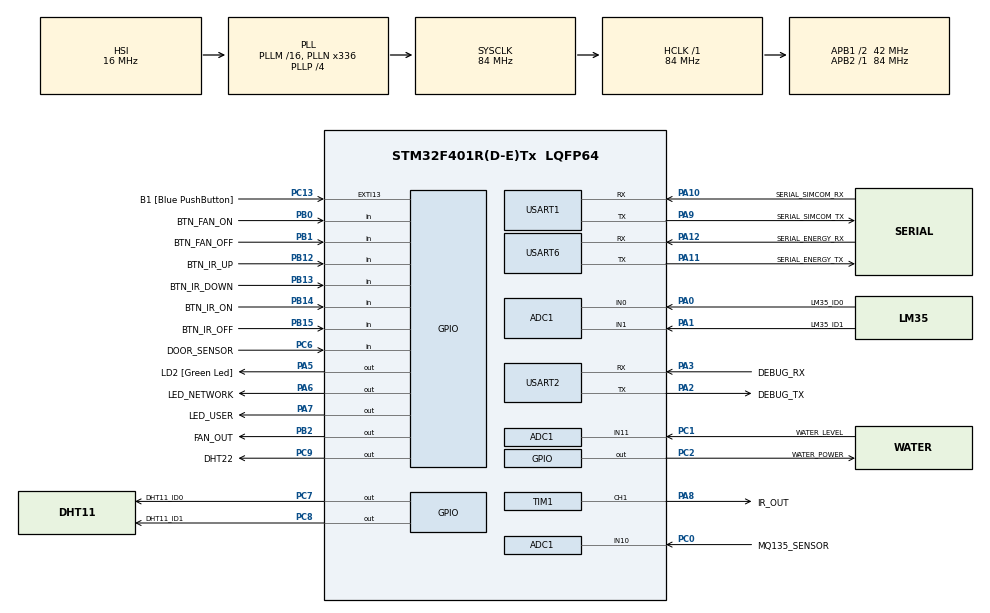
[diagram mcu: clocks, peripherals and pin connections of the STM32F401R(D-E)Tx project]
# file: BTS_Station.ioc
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ADC1.Channel-15\#ChannelRegularConversion=ADC_CHANNEL_1
ADC1.Channel-16\#ChannelRegularConversion=ADC_CHANNEL_10
ADC1.Channel-17\#ChannelRegularConversion=ADC_CHANNEL_11
ADC1.ContinuousConvMode=ENABLE
ADC1.DMAContinuousRequests=ENABLE
ADC1.InjNumberOfConversion=0
ADC1.NbrOfConversion=4
ADC1.NbrOfConversionFlag=1
ADC1.Rank-15\#ChannelRegularConversion=2
ADC1.Rank-16\#ChannelRegularConversion=3
ADC1.Rank-17\#ChannelRegularConversion=4
ADC1.SamplingTime-15\#ChannelRegularConversion=ADC_SAMPLETIME_84CYCLES
ADC1.SamplingTime-16\#ChannelRegularConversion=ADC_SAMPLETIME_84CYCLES
ADC1.SamplingTime-17\#ChannelRegularConversion=ADC_SAMPLETIME_84CYCLES
ADC1.master=1
Dma.ADC1.0.Direction=DMA_PERIPH_TO_MEMORY
Dma.ADC1.0.FIFOMode=DMA_FIFOMODE_DISABLE
Dma.ADC1.0.Instance=DMA2_Stream0
Dma.ADC1.0.MemDataAlignment=DMA_MDATAALIGN_HALFWORD
Dma.ADC1.0.MemInc=DMA_MINC_ENABLE
Dma.ADC1.0.Mode=DMA_CIRCULAR
Dma.ADC1.0.PeriphDataAlignment=DMA_PDATAALIGN_HALFWORD
Dma.ADC1.0.PeriphInc=DMA_PINC_DISABLE
Dma.ADC1.0.Priority=DMA_PRIORITY_LOW
Dma.Request0=ADC1
Mcu.Family=STM32F4
Mcu.Name=STM32F401R(D-E)Tx
Mcu.Package=LQFP64
NVIC.DMA2_Stream0_IRQn=true\:0\:0\:false\:false\:true\:false\:true\:true
NVIC.PriorityGroup=NVIC_PRIORITYGROUP_0
NVIC.USART2_IRQn=true\:0\:0\:false\:false\:true\:true\:true\:true
NVIC.USART6_IRQn=true\:0\:0\:false\:false\:true\:true\:true\:true
PA0-WKUP.GPIO_Label=LM35_ID0
PA0-WKUP.Signal=ADCx_IN0
PA1.GPIO_Label=LM35_ID1
PA1.Signal=ADCx_IN1
PA10.GPIO_Label=SERIAL_SIMCOM_RX
PA10.GPIO_PuPd=GPIO_PULLUP
PA10.GPIO_Speed=GPIO_SPEED_FREQ_HIGH
PA10.Mode=Asynchronous
PA10.Signal=USART1_RX
PA11.GPIO_Label=SERIAL_ENERGY_TX
PA11.GPIO_PuPd=GPIO_PULLUP
PA11.GPIO_Speed=GPIO_SPEED_FREQ_HIGH
PA11.Mode=Asynchronous
PA11.Signal=USART6_TX
PA12.GPIO_Label=SERIAL_ENERGY_RX
PA12.GPIO_PuPd=GPIO_PULLUP
PA12.GPIO_Speed=GPIO_SPEED_FREQ_HIGH
PA12.Mode=Asynchronous
PA12.Signal=USART6_RX
PA13.GPIO_Label=TMS
PA13.Mode=Serial_Wire
PA13.Signal=SYS_JTMS-SWDIO
PA14.GPIO_Label=TCK
PA14.Mode=Serial_Wire
PA14.Signal=SYS_JTCK-SWCLK
PA2.GPIO_Label=DEBUG_TX
PA2.GPIO_Mode=GPIO_MODE_AF_PP
PA2.GPIO_PuPd=GPIO_PULLUP
PA2.GPIO_Speed=GPIO_SPEED_FREQ_HIGH
PA2.Mode=Asynchronous
PA2.Signal=USART2_TX
PA3.GPIO_Label=DEBUG_RX
PA3.GPIO_Mode=GPIO_MODE_AF_PP
PA3.GPIO_PuPd=GPIO_PULLUP
PA3.GPIO_Speed=GPIO_SPEED_FREQ_HIGH
PA3.Mode=Asynchronous
PA3.Signal=USART2_RX
PA5.GPIO_Label=LD2 [Green Led]
PA5.GPIO_Mode=GPIO_MODE_OUTPUT_PP
PA5.GPIO_PuPd=GPIO_NOPULL
PA5.GPIO_Speed=GPIO_SPEED_FREQ_LOW
PA5.Signal=GPIO_Output
PA6.GPIO_Label=LED_NETWORK
PA6.Signal=GPIO_Output
PA7.GPIO_Label=LED_USER
PA7.Signal=GPIO_Output
PA8.GPIO_Label=IR_OUT
PA8.GPIO_PuPd=GPIO_PULLDOWN
PA8.Signal=S_TIM1_CH1
PA9.GPIO_Label=SERIAL_SIMCOM_TX
PA9.GPIO_PuPd=GPIO_PULLUP
PA9.GPIO_Speed=GPIO_SPEED_FREQ_HIGH
PA9.Mode=Asynchronous
PA9.Signal=USART1_TX
PB0.GPIO_Label=BTN_FAN_ON
PB0.GPIO_PuPd=GPIO_PULLUP
PB0.Signal=GPIO_Input
PB1.GPIO_Label=BTN_FAN_OFF
PB1.GPIO_PuPd=GPIO_PULLUP
PB1.Signal=GPIO_Input
PB12.GPIO_Label=BTN_IR_UP
PB12.GPIO_PuPd=GPIO_PULLUP
PB12.Signal=GPIO_Input
PB13.GPIO_Label=BTN_IR_DOWN
PB13.GPIO_PuPd=GPIO_PULLUP
PB13.Signal=GPIO_Input
PB14.GPIO_Label=BTN_IR_ON
PB14.GPIO_PuPd=GPIO_PULLUP
PB14.Signal=GPIO_Input
PB15.GPIO_Label=BTN_IR_OFF
PB15.GPIO_PuPd=GPIO_PULLUP
PB15.Signal=GPIO_Input
PB2.GPIO_Label=FAN_OUT
PB2.Signal=GPIO_Output
PB3.GPIO_Label=SWO
PB3.Signal=SYS_JTDO-SWO
PC0.GPIO_Label=MQ135_SENSOR
PC0.Signal=ADCx_IN10
PC1.GPIO_Label=WATER_LEVEL
PC1.Signal=ADCx_IN11
PC13-ANTI_TAMP.GPIO_Label=B1 [Blue PushButton]
PC13-ANTI_TAMP.GPIO_ModeDefaultEXTI=GPIO_MODE_IT_FALLING
PC13-ANTI_TAMP.GPIO_PuPd=GPIO_NOPULL
PC13-ANTI_TAMP.Signal=GPXTI13
PC14-OSC32_IN.Mode=LSE-External-Oscillator
PC14-OSC32_IN.Signal=RCC_OSC32_IN
PC15-OSC32_OUT.Mode=LSE-External-Oscillator
PC15-OSC32_OUT.Signal=RCC_OSC32_OUT
PC2.GPIO_Label=WATER_POWER
PC2.Signal=GPIO_Output
PC6.GPIO_Label=DOOR_SENSOR
PC6.GPIO_PuPd=GPIO_PULLUP
PC6.Signal=GPIO_Input
PC7.GPIO_Label=DHT11_ID0
PC7.Signal=GPIO_Output
PC8.GPIO_Label=DHT11_ID1
PC8.Signal=GPIO_Output
PC9.GPIO_Label=DHT22
PC9.Signal=GPIO_Output
PH0\ -\ OSC_IN.Mode=HSE-External-Clock-Source
PH0\ -\ OSC_IN.Signal=RCC_OSC_IN
PH1\ -\ OSC_OUT.Mode=HSE-External-Clock-Source
PH1\ -\ OSC_OUT.Signal=RCC_OSC_OUT
ProjectManager.HeapSize=0x200
ProjectManager.StackSize=0x400
ProjectManager.TargetToolchain=STM32CubeIDE
RCC.48MHZClocksFreq_Value=48000000
RCC.AHBFreq_Value=84000000
RCC.APB1CLKDivider=RCC_HCLK_DIV2
RCC.APB1Freq_Value=42000000
RCC.APB1TimFreq_Value=84000000
RCC.APB2Freq_Value=84000000
RCC.APB2TimFreq_Value=84000000
RCC.CortexFreq_Value=84000000
RCC.HCLKFreq_Value=84000000
RCC.HSE_VALUE=8000000
RCC.HSI_VALUE=16000000
RCC.PLLN=336
RCC.PLLP=RCC_PLLP_DIV4
RCC.PLLQ=7
RCC.SYSCLKFreq_VALUE=84000000
RCC.SYSCLKSource=RCC_SYSCLKSOURCE_PLLCLK
RCC.VCOOutputFreq_Value=336000000
SH.ADCx_IN0.0=ADC1_IN0,IN0
SH.ADCx_IN1.0=ADC1_IN1,IN1
SH.ADCx_IN10.0=ADC1_IN10,IN10
SH.ADCx_IN11.0=ADC1_IN11,IN11
SH.S_TIM1_CH1.0=TIM1_CH1,Output Compare1 CH1
TIM1.Channel-Output\ Compare1\ CH1=TIM_CHANNEL_1
TIM1.Prescaler=83
USART1.VirtualMode=VM_ASYNC
USART2.VirtualMode=VM_ASYNC
USART6.VirtualMode=VM_ASYNC
VP_TIM1_VS_ClockSourceINT.Mode=Internal
board=NUCLEO-F401RE

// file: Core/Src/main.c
/* USER CODE BEGIN Header */
/**
  ******************************************************************************
  * @file           : main.c
  * @brief          : Main program body
  ******************************************************************************
  * @attention
  *
  * Copyright (c) 2024 STMicroelectronics.
  * All rights reserved.
  *
  * This software is licensed under terms that can be found in the LICENSE file
  * in the root directory of this software component.
  * If no LICENSE file comes with this software, it is provided AS-IS.
  *
  ******************************************************************************
  */
/* USER CODE END Header */
#include "main.h"

/* USER CODE BEGIN Includes */
#include <string.h>
#include <stdio.h>
#include <stdlib.h>

#include "timer.h"
#include "dht.h"
#include "lm35.h"
#include "mq135.h"
#include "button.h"
#include "door_sensor.h"
#include "rainwater.h"
#include "fanctrl.h"
#include "irctrl.h"
#include "simcom.h"
#include "eventSerialCb.h"
#include "eventButtonCb.h"
#include "utilities.h"

/* USER CODE END Includes */

/* USER CODE BEGIN PTD */
#define PUBLISHER_NORMAL_TIMEOUT		30000 // ms
#define PUBLISHER_WARNING_TIMEOUT		15000 // ms
#define SUBSCRIBER_TIMEOUT		         5000 // ms
/* USER CODE END PTD */

ADC_HandleTypeDef hadc1;
DMA_HandleTypeDef hdma_adc1;

TIM_HandleTypeDef htim1;

UART_HandleTypeDef huart1;
UART_HandleTypeDef huart2;
UART_HandleTypeDef huart6;

/* USER CODE BEGIN PV */
static char json_buffer[512];

static uint8_t publisherTimerEvt = NO_TIMER;
static uint8_t subscriberTimerEvt = NO_TIMER;

uint8_t tempSet_Room = 30;
uint8_t tempSet_AQ = 30;
uint8_t tempSet_Cabinet = 75;
uint8_t tempAirCondition = 30;
/* USER CODE END PV */

void SystemClock_Config(void);
static void MX_GPIO_Init(void);
static void MX_DMA_Init(void);
static void MX_USART2_UART_Init(void);
static void MX_ADC1_Init(void);
static void MX_USART1_UART_Init(void);
static void MX_USART6_UART_Init(void);
static void MX_TIM1_Init(void);
/* USER CODE BEGIN PFP */
static uint16_t adcMultiChannelGetValue(uint8_t channel);
static void publisherTimerCb(void *arg);
static void subscriberTimerCb(void *arg);
void subscriberHandlerCb(uint8_t *data, int32_t length);
/* USER CODE END PFP */

/* USER CODE BEGIN 0 */
uint16_t adc_buffer[ADC_CHANNEL_SIZE];
DHT_Name dht11_id0, dht11_id1;

/* USER CODE END 0 */

int main(void)
{

  /* MCU Configuration--------------------------------------------------------*/

  /* Reset of all peripherals, Initializes the Flash interface and the Systick. */
  HAL_Init();

  /* Configure the system clock */
  SystemClock_Config();

  /* Initialize all configured peripherals */
  MX_GPIO_Init();
  MX_DMA_Init();
  MX_USART2_UART_Init();
  MX_ADC1_Init();
  MX_USART1_UART_Init();
  MX_USART6_UART_Init();
  MX_TIM1_Init();
  /* USER CODE BEGIN 2 */
  SIMCOM_Init(subscriberHandlerCb);

  /* The sensors are using ADC interface */
  HAL_ADC_Start_DMA(&hadc1, (uint32_t *)adc_buffer, ADC_CHANNEL_SIZE);
  LM35_Init(adcMultiChannelGetValue);
  MQ135_Init(adcMultiChannelGetValue);
  RainWater_Init(adcMultiChannelGetValue);

  /* The sensors are using LIN protocol */
  DHT_Init(&dht11_id0, DHT11, &htim1, DHT11_ID0_GPIO_Port, DHT11_ID0_Pin);
  DHT_Init(&dht11_id1, DHT11, &htim1, DHT11_ID1_GPIO_Port, DHT11_ID1_Pin);
  eventSerial_init(); // Get value temp of dht22 from rs232 interface

  EventButton_Init();

  publisherTimerEvt = TimerStart("publisherTimerCb", PUBLISHER_NORMAL_TIMEOUT, TIMER_REPEAT_FOREVER, publisherTimerCb, NULL);
//  subscriberTimerEvt = TimerStart("subscriberTimerCb", SUBSCRIBER_TIMEOUT, TIMER_REPEAT_FOREVER, subscriberTimerCb, NULL);
  /* USER CODE END 2 */

  /* Infinite loop */
  /* USER CODE BEGIN WHILE */
  while (1)
  {
	  processTimerScheduler();
	  processSerialReceiver();
    /* USER CODE END WHILE */

  }
}

void SystemClock_Config(void)
{
  RCC_OscInitTypeDef RCC_OscInitStruct = {0};
  RCC_ClkInitTypeDef RCC_ClkInitStruct = {0};

  /** Configure the main internal regulator output voltage
  */
  __HAL_RCC_PWR_CLK_ENABLE();
  __HAL_PWR_VOLTAGESCALING_CONFIG(PWR_REGULATOR_VOLTAGE_SCALE2);

  /** Initializes the RCC Oscillators according to the specified parameters
  * in the RCC_OscInitTypeDef structure.
  */
  RCC_OscInitStruct.OscillatorType = RCC_OSCILLATORTYPE_HSI;
  RCC_OscInitStruct.HSIState = RCC_HSI_ON;
  RCC_OscInitStruct.HSICalibrationValue = RCC_HSICALIBRATION_DEFAULT;
  RCC_OscInitStruct.PLL.PLLState = RCC_PLL_ON;
  RCC_OscInitStruct.PLL.PLLSource = RCC_PLLSOURCE_HSI;
  RCC_OscInitStruct.PLL.PLLM = 16;
  RCC_OscInitStruct.PLL.PLLN = 336;
  RCC_OscInitStruct.PLL.PLLP = RCC_PLLP_DIV4;
  RCC_OscInitStruct.PLL.PLLQ = 7;
  if (HAL_RCC_OscConfig(&RCC_OscInitStruct) != HAL_OK)
  {
    Error_Handler();
  }

  /** Initializes the CPU, AHB and APB buses clocks
  */
  RCC_ClkInitStruct.ClockType = RCC_CLOCKTYPE_HCLK|RCC_CLOCKTYPE_SYSCLK
                              |RCC_CLOCKTYPE_PCLK1|RCC_CLOCKTYPE_PCLK2;
  RCC_ClkInitStruct.SYSCLKSource = RCC_SYSCLKSOURCE_PLLCLK;
  RCC_ClkInitStruct.AHBCLKDivider = RCC_SYSCLK_DIV1;
  RCC_ClkInitStruct.APB1CLKDivider = RCC_HCLK_DIV2;
  RCC_ClkInitStruct.APB2CLKDivider = RCC_HCLK_DIV1;

  if (HAL_RCC_ClockConfig(&RCC_ClkInitStruct, FLASH_LATENCY_2) != HAL_OK)
  {
    Error_Handler();
  }
}

static void MX_ADC1_Init(void)
{

  ADC_ChannelConfTypeDef sConfig = {0};

  /** Configure the global features of the ADC (Clock, Resolution, Data Alignment and number of conversion)
  */
  hadc1.Instance = ADC1;
  hadc1.Init.ClockPrescaler = ADC_CLOCK_SYNC_PCLK_DIV4;
  hadc1.Init.Resolution = ADC_RESOLUTION_12B;
  hadc1.Init.ScanConvMode = ENABLE;
  hadc1.Init.ContinuousConvMode = ENABLE;
  hadc1.Init.DiscontinuousConvMode = DISABLE;
  hadc1.Init.ExternalTrigConvEdge = ADC_EXTERNALTRIGCONVEDGE_NONE;
  hadc1.Init.ExternalTrigConv = ADC_SOFTWARE_START;
  hadc1.Init.DataAlign = ADC_DATAALIGN_RIGHT;
  hadc1.Init.NbrOfConversion = 4;
  hadc1.Init.DMAContinuousRequests = ENABLE;
  hadc1.Init.EOCSelection = ADC_EOC_SINGLE_CONV;
  if (HAL_ADC_Init(&hadc1) != HAL_OK)
  {
    Error_Handler();
  }

  /** Configure for the selected ADC regular channel its corresponding rank in the sequencer and its sample time.
  */
  sConfig.Channel = ADC_CHANNEL_1;
  sConfig.Rank = 2;
  sConfig.SamplingTime = ADC_SAMPLETIME_84CYCLES;
  if (HAL_ADC_ConfigChannel(&hadc1, &sConfig) != HAL_OK)
  {
    Error_Handler();
  }

  /** Configure for the selected ADC regular channel its corresponding rank in the sequencer and its sample time.
  */
  sConfig.Channel = ADC_CHANNEL_10;
  sConfig.Rank = 3;
  if (HAL_ADC_ConfigChannel(&hadc1, &sConfig) != HAL_OK)
  {
    Error_Handler();
  }

  /** Configure for the selected ADC regular channel its corresponding rank in the sequencer and its sample time.
  */
  sConfig.Channel = ADC_CHANNEL_11;
  sConfig.Rank = 4;
  if (HAL_ADC_ConfigChannel(&hadc1, &sConfig) != HAL_OK)
  {
    Error_Handler();
  }

}

static void MX_TIM1_Init(void)
{

  TIM_ClockConfigTypeDef sClockSourceConfig = {0};
  TIM_MasterConfigTypeDef sMasterConfig = {0};
  TIM_OC_InitTypeDef sConfigOC = {0};
  TIM_BreakDeadTimeConfigTypeDef sBreakDeadTimeConfig = {0};

  htim1.Instance = TIM1;
  htim1.Init.Prescaler = 83;
  htim1.Init.CounterMode = TIM_COUNTERMODE_UP;
  htim1.Init.Period = 65535;
  htim1.Init.ClockDivision = TIM_CLOCKDIVISION_DIV1;
  htim1.Init.RepetitionCounter = 0;
  htim1.Init.AutoReloadPreload = TIM_AUTORELOAD_PRELOAD_DISABLE;
  if (HAL_TIM_Base_Init(&htim1) != HAL_OK)
  {
    Error_Handler();
  }
  sClockSourceConfig.ClockSource = TIM_CLOCKSOURCE_INTERNAL;
  if (HAL_TIM_ConfigClockSource(&htim1, &sClockSourceConfig) != HAL_OK)
  {
    Error_Handler();
  }
  if (HAL_TIM_OC_Init(&htim1) != HAL_OK)
  {
    Error_Handler();
  }
  sMasterConfig.MasterOutputTrigger = TIM_TRGO_RESET;
  sMasterConfig.MasterSlaveMode = TIM_MASTERSLAVEMODE_DISABLE;
  if (HAL_TIMEx_MasterConfigSynchronization(&htim1, &sMasterConfig) != HAL_OK)
  {
    Error_Handler();
  }
  sConfigOC.OCMode = TIM_OCMODE_TIMING;
  sConfigOC.Pulse = 0;
  sConfigOC.OCPolarity = TIM_OCPOLARITY_HIGH;
  sConfigOC.OCNPolarity = TIM_OCNPOLARITY_HIGH;
  sConfigOC.OCFastMode = TIM_OCFAST_DISABLE;
  sConfigOC.OCIdleState = TIM_OCIDLESTATE_RESET;
  sConfigOC.OCNIdleState = TIM_OCNIDLESTATE_RESET;
  if (HAL_TIM_OC_ConfigChannel(&htim1, &sConfigOC, TIM_CHANNEL_1) != HAL_OK)
  {
    Error_Handler();
  }
  sBreakDeadTimeConfig.OffStateRunMode = TIM_OSSR_DISABLE;
  sBreakDeadTimeConfig.OffStateIDLEMode = TIM_OSSI_DISABLE;
  sBreakDeadTimeConfig.LockLevel = TIM_LOCKLEVEL_OFF;
  sBreakDeadTimeConfig.DeadTime = 0;
  sBreakDeadTimeConfig.BreakState = TIM_BREAK_DISABLE;
  sBreakDeadTimeConfig.BreakPolarity = TIM_BREAKPOLARITY_HIGH;
  sBreakDeadTimeConfig.AutomaticOutput = TIM_AUTOMATICOUTPUT_DISABLE;
  if (HAL_TIMEx_ConfigBreakDeadTime(&htim1, &sBreakDeadTimeConfig) != HAL_OK)
  {
    Error_Handler();
  }
  HAL_TIM_MspPostInit(&htim1);

}

static void MX_USART1_UART_Init(void)
{

  huart1.Instance = USART1;
  huart1.Init.BaudRate = 115200;
  huart1.Init.WordLength = UART_WORDLENGTH_8B;
  huart1.Init.StopBits = UART_STOPBITS_1;
  huart1.Init.Parity = UART_PARITY_NONE;
  huart1.Init.Mode = UART_MODE_TX_RX;
  huart1.Init.HwFlowCtl = UART_HWCONTROL_NONE;
  huart1.Init.OverSampling = UART_OVERSAMPLING_16;
  if (HAL_UART_Init(&huart1) != HAL_OK)
  {
    Error_Handler();
  }

}

static void MX_USART2_UART_Init(void)
{

  huart2.Instance = USART2;
  huart2.Init.BaudRate = 115200;
  huart2.Init.WordLength = UART_WORDLENGTH_8B;
  huart2.Init.StopBits = UART_STOPBITS_1;
  huart2.Init.Parity = UART_PARITY_NONE;
  huart2.Init.Mode = UART_MODE_TX_RX;
  huart2.Init.HwFlowCtl = UART_HWCONTROL_NONE;
  huart2.Init.OverSampling = UART_OVERSAMPLING_16;
  if (HAL_UART_Init(&huart2) != HAL_OK)
  {
    Error_Handler();
  }

}

static void MX_USART6_UART_Init(void)
{

  huart6.Instance = USART6;
  huart6.Init.BaudRate = 115200;
  huart6.Init.WordLength = UART_WORDLENGTH_8B;
  huart6.Init.StopBits = UART_STOPBITS_1;
  huart6.Init.Parity = UART_PARITY_NONE;
  huart6.Init.Mode = UART_MODE_TX_RX;
  huart6.Init.HwFlowCtl = UART_HWCONTROL_NONE;
  huart6.Init.OverSampling = UART_OVERSAMPLING_16;
  if (HAL_UART_Init(&huart6) != HAL_OK)
  {
    Error_Handler();
  }

}

static void MX_DMA_Init(void)
{

  /* DMA controller clock enable */
  __HAL_RCC_DMA2_CLK_ENABLE();

  /* DMA interrupt init */
  /* DMA2_Stream0_IRQn interrupt configuration */
  HAL_NVIC_SetPriority(DMA2_Stream0_IRQn, 0, 0);
  HAL_NVIC_EnableIRQ(DMA2_Stream0_IRQn);

}

static void MX_GPIO_Init(void)
{
  GPIO_InitTypeDef GPIO_InitStruct = {0};

  /* GPIO Ports Clock Enable */
  __HAL_RCC_GPIOC_CLK_ENABLE();
  __HAL_RCC_GPIOH_CLK_ENABLE();
  __HAL_RCC_GPIOA_CLK_ENABLE();
  __HAL_RCC_GPIOB_CLK_ENABLE();

  /*Configure GPIO pin Output Level */
  HAL_GPIO_WritePin(GPIOC, DHT11_ID0_Pin|DHT11_ID1_Pin|DHT22_Pin, GPIO_PIN_RESET);

  /*Configure GPIO pin Output Level */
  HAL_GPIO_WritePin(GPIOA, LD2_Pin|LED_NETWORK_Pin|LED_USER_Pin, GPIO_PIN_RESET);

  /*Configure GPIO pin Output Level */
  HAL_GPIO_WritePin(FAN_OUT_GPIO_Port, FAN_OUT_Pin, GPIO_PIN_SET);

  /*Configure GPIO pin : B1_Pin */
  GPIO_InitStruct.Pin = B1_Pin;
  GPIO_InitStruct.Mode = GPIO_MODE_IT_FALLING;
  GPIO_InitStruct.Pull = GPIO_NOPULL;
  HAL_GPIO_Init(B1_GPIO_Port, &GPIO_InitStruct);

  /*Configure GPIO pins : WATER_POWER_Pin DHT11_ID0_Pin DHT11_ID1_Pin DHT22_Pin */
  GPIO_InitStruct.Pin = DHT11_ID0_Pin|DHT11_ID1_Pin|DHT22_Pin;
  GPIO_InitStruct.Mode = GPIO_MODE_OUTPUT_PP;
  GPIO_InitStruct.Pull = GPIO_NOPULL;
  GPIO_InitStruct.Speed = GPIO_SPEED_FREQ_LOW;
  HAL_GPIO_Init(GPIOC, &GPIO_InitStruct);

  /*Configure GPIO pins : LD2_Pin LED_NETWORK_Pin LED_USER_Pin */
  GPIO_InitStruct.Pin = LD2_Pin|LED_NETWORK_Pin|LED_USER_Pin;
  GPIO_InitStruct.Mode = GPIO_MODE_OUTPUT_PP;
  GPIO_InitStruct.Pull = GPIO_NOPULL;
  GPIO_InitStruct.Speed = GPIO_SPEED_FREQ_LOW;
  HAL_GPIO_Init(GPIOA, &GPIO_InitStruct);

  /*Configure GPIO pins : BTN_FAN_ON_Pin BTN_FAN_OFF_Pin BTN_IR_UP_Pin BTN_IR_DOWN_Pin
                           BTN_IR_ON_Pin BTN_IR_OFF_Pin */
  GPIO_InitStruct.Pin = BTN_FAN_ON_Pin|BTN_FAN_OFF_Pin|BTN_IR_UP_Pin|BTN_IR_DOWN_Pin
                          |BTN_IR_ON_Pin|BTN_IR_OFF_Pin;
  GPIO_InitStruct.Mode = GPIO_MODE_INPUT;
  GPIO_InitStruct.Pull = GPIO_PULLUP;
  HAL_GPIO_Init(GPIOB, &GPIO_InitStruct);

  /*Configure GPIO pin : FAN_OUT_Pin */
  GPIO_InitStruct.Pin = FAN_OUT_Pin;
  GPIO_InitStruct.Mode = GPIO_MODE_OUTPUT_PP;
  GPIO_InitStruct.Pull = GPIO_NOPULL;
  GPIO_InitStruct.Speed = GPIO_SPEED_FREQ_LOW;
  HAL_GPIO_Init(FAN_OUT_GPIO_Port, &GPIO_InitStruct);

  /*Configure GPIO pin : DOOR_SENSOR_Pin */
  GPIO_InitStruct.Pin = DOOR_SENSOR_Pin;
  GPIO_InitStruct.Mode = GPIO_MODE_INPUT;
  GPIO_InitStruct.Pull = GPIO_PULLUP;
  HAL_GPIO_Init(DOOR_SENSOR_GPIO_Port, &GPIO_InitStruct);

}

/* USER CODE BEGIN 4 */
static uint16_t adcMultiChannelGetValue(uint8_t channel) {
    if (channel >= ADC_CHANNEL_SIZE) return 0;
    return adc_buffer[channel];
}

/**
 * @func   subscriberTimerCb
 * @brief
 * @param  None
 * @retval None
 */
static void subscriberTimerCb(void *arg) {
    SIMCOM_httpGet();
}

/**
 * @func   publisherTimerCb
 * @brief
 * @param  None
 * @retval None
 */
static void publisherTimerCb(void *arg) {
	uint8_t MSTT = 0;

	// Read data from all sensors
	dht_status status_id0 = DHT_ReadTempHum(&dht11_id0);
	DHT_ReadTempHum(&dht11_id1);
	float temp1 = rs232_GetTempDht22();
	float temp2 = LM35_GetTempCel(ADC_CHANNEL_LM35_ID0);
	float temp3 = LM35_GetTempCel(ADC_CHANNEL_LM35_ID1);
	door_status_e door = door_get_status();
	water_level_state waterSensor = RainWater_GetLevelState();
	float ppm = MQ135_GetPPM();
	uint8_t statusAirCondition = IRCtrl_GetState();
	uint8_t fanLevel = FanCtrl_GetLevel();

	if ((dht11_id0.Temp < tempSet_Room) && (dht11_id1.Temp < tempSet_Room) && \
		(temp2 < tempSet_Cabinet) && (temp3 < tempSet_AQ) && (waterSensor == WATER_LEVEL_LOW) && (ppm < 500) && (door == DOOR_STATUS_CLOSE))
	{
		MSTT = 0;
	}
	else if ((temp3 > tempSet_AQ) && (temp3 < 50) && \
		 (temp2 > tempSet_Cabinet) && (temp2 < 95) && \
		 (average(dht11_id0.Temp, dht11_id1.Temp)  > 30) && (waterSensor == WATER_LEVEL_LOW) && (ppm < 500) && (door == DOOR_STATUS_CLOSE))
	{
		MSTT = 2;
	}
//	else if () { // Them mat tin hieu nang luong AC
//		MSTT = 3;
//	}
//	else if () { // Them mat tin hieu nang luong DC
//		MSTT = 4;
//	}
	else if ((temp1 > 55) || (temp1 == -1))
	{
		MSTT = 5;
	}
	else if (((average(dht11_id0.Temp, dht11_id1.Temp) > 55) && (temp1 < 40)) || (status_id0 != DHT_STA_OK))
	{
		MSTT = 6;
	}
	else if (((temp3 < 30) && (temp2 < 75) && (average(dht11_id0.Temp, dht11_id1.Temp) < 50) && \
			(ppm > 500)) || (ppm == -1))
	{
		MSTT = 7;
	}
	else if ((statusAirCondition == 1) && (abs(average(dht11_id0.Temp, dht11_id1.Temp) - tempAirCondition) > 20))
	{
		MSTT = 8;
	}
	else if ((((temp2 > 75) && (average(dht11_id0.Temp, dht11_id1.Temp) < 30)) || \
			 ((temp2 > 95) && (average(dht11_id0.Temp, dht11_id1.Temp) > 30))) || (temp2 == -1))
	{
		MSTT = 9;
	}
	else if ((((temp3 > 30) && (average(dht11_id0.Temp, dht11_id1.Temp) < 30)) || \
			 ((temp3 > 50) && (average(dht11_id0.Temp, dht11_id1.Temp) > 30))) || (temp3 == -1))
	{
		MSTT = 10;
	}
	else if (waterSensor == WATER_LEVEL_UNKNOW)
	{
		MSTT = 11;
	}
	else if (waterSensor == WATER_LEVEL_HIGH) {
		MSTT = 12;
	}
	else if (door == DOOR_STATUS_OPEN)
	{
		MSTT = 13;
	}
	else if (((average(dht11_id0.Temp, dht11_id1.Temp) > 50) || (temp3 > 30) || (temp2 > 75)) && (ppm > 500))
	{
		MSTT = 14;
	}
//	else if () { // 2 trong 5 cam bien dht11_id0 va dht11_id1 va nhiet do temp3 va temp2 va ppm mat
//		MSTT = 15;
//	}

	// Construct the JSON string
	memset(json_buffer, 0, sizeof(json_buffer));
	snprintf(json_buffer, sizeof(json_buffer),
		"\"mac\":\"00:0A:F5:88:88:8F\","
		"\"MSDT\":\"1\","
		"\"MSTT\":\"%d\","
		"\"power\":\"%d\","
		"\"timesUpdate\":\"0\","
		"\"khoi\":\"%0.2f\","
		"\"door\":\"%s\","
		"\"waterSensor\":\"%s\","
		"\"temp1\":\"%.2f\","
		"\"temp2\":\"%.2f\","
		"\"temp3\":\"%.2f\","
		"\"humidity\":\"%.2f\","
		"\"status\":\"0\","
		"\"statusAirCondition\":\"%s\","
		"\"statusFan\":\"%s\","
		"\"tempAirCondition\":\"%.2f\","
		"\"tempTN1\":\"%.2f\","
		"\"tempTN2\":\"%.2f\","
		"\"tempSet\":\"%d\"",
		MSTT,
		0,
		ppm,
		(door == DOOR_STATUS_CLOSE) ? "close" : "open",
		(waterSensor == WATER_LEVEL_LOW) ? "low" : (waterSensor == WATER_LEVEL_MEDIUM ? "medium" : "high"),
		temp1,
		temp2,
		temp3,
		(dht11_id0.Humi + dht11_id0.Humi) / 2,
		(statusAirCondition == 0) ? "off" : "on",
		(fanLevel == 0) ? "off" : "on",
		32.0,
		dht11_id0.Temp,
		dht11_id1.Temp,
		tempSet_Room
	);

	// Send the JSON string via UART, save it to memory or further processing
	printf("%s\n", json_buffer);
	SIMCOM_httpPost(json_buffer);
}

// Function to parse JSON for AC control
void parseACControlJSON(const char *jsonString, int *id, int *actionAC) {
    sscanf(jsonString, "{\"ID\":\"%d\",\"actionAC\":\"%d\"", id, actionAC);
}

// Function to parse JSON for Fan control
void parseFanControlJSON(const char *jsonString, int *id, int *actionFan) {
	sscanf(jsonString, "{\"ID\":\"%d\",\"actionFan\":\"%d\"", id, actionFan);
}

// Function to parse JSON for AC temperature control
void parseACTempControlJSON(const char *jsonString, int *id, int *tempAC) {
	sscanf(jsonString, "{\"ID\":\"%d\",\"tempAC\":\"%d\"", id, tempAC);
}

// Function to parse JSON for setting default AC temperature
void parseACDefaultTempJSON(const char *jsonString, int *id, int *setTemp) {
	sscanf(jsonString, "{\"ID\":\"%d\",\"setTemp\":\"%d\"", id, setTemp);
}

// Callback function to handle received data
void subscriberHandlerCb(uint8_t *data, int32_t length) {
	if (data == NULL) return;

    // Create a copy of the data string to ensure null-termination
    char jsonString[length + 1];
    memcpy(jsonString, data, length);
    jsonString[length] = '\0'; // Ensure the string is null-terminated

    int id, actionAC, actionFan, tempAC, setTemp;

    // Determine the type of message based on JSON content
    if (strstr(jsonString, "actionAC") != NULL) {
        parseACControlJSON(jsonString, &id, &actionAC);
        printf("AC Control: ID: %d, Action: %d\n", id, actionAC);
    }
    else if (strstr(jsonString, "actionFan") != NULL) {
        parseFanControlJSON(jsonString, &id, &actionFan);
        printf("Fan Control: ID: %d, Action: %d\n", id, actionFan);
    }
    else if (strstr(jsonString, "tempAC") != NULL) {
        parseACTempControlJSON(jsonString, &id, &tempAC);
        printf("AC Temp Control: ID: %d, Temp: %d\n", id, tempAC);
    }
    else if (strstr(jsonString, "setTemp") != NULL) {
        parseACDefaultTempJSON(jsonString, &id, &setTemp);
        printf("AC Default Temp: ID: %d, Temp: %d\n", id, setTemp);
    }
    else {
        printf("Unknown JSON format: %s\n", jsonString);
    }
}

/* USER CODE END 4 */

void Error_Handler(void)
{
  __disable_irq();
  while (1)
  {
  }
}
